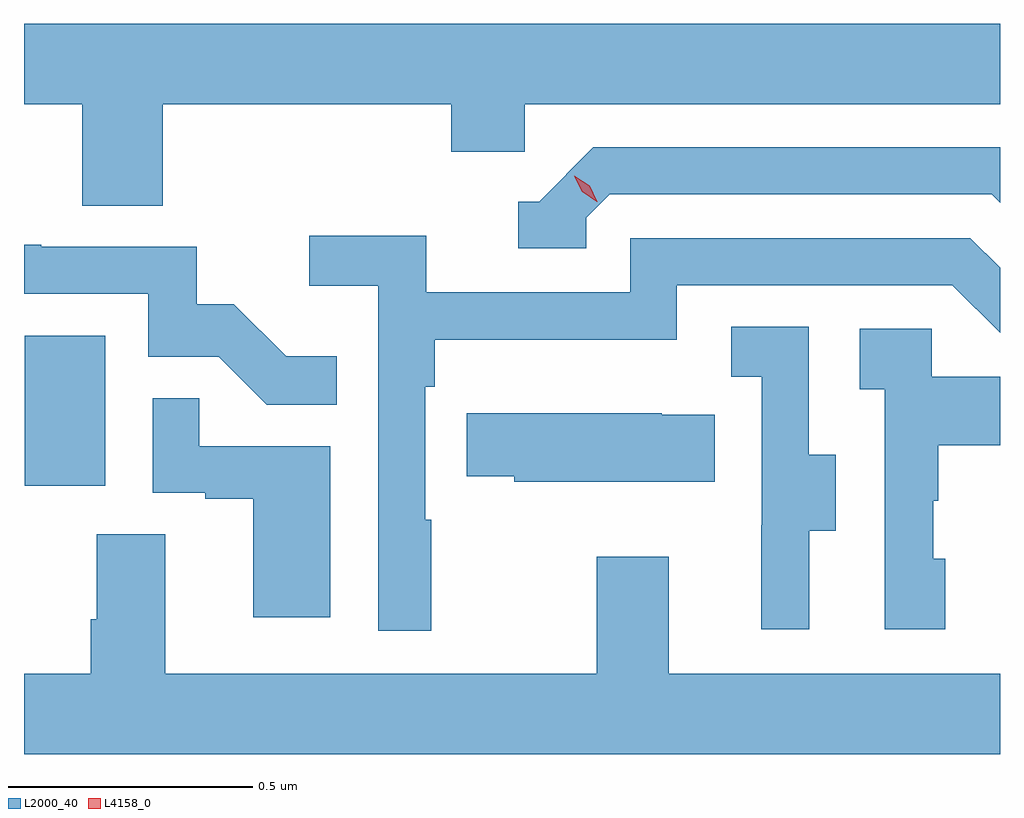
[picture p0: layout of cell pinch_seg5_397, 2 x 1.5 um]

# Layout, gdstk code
import gdstk
lib = gdstk.Library(unit=1e-6, precision=1e-09)
def R(c, l, rs):  # rectangles x0, y0, x1, y1
    for r in rs: c.add(gdstk.rectangle(r[:2], r[2:], *l))
def P(c, l, *ps):  # polygons
    for p in ps: c.add(gdstk.Polygon(p, *l))
L2000_40 = (2000, 40)
L4158_0 = (4158, 0)

pinch_seg5_397 = lib.new_cell('pinch_seg5_397')
R(pinch_seg5_397, L2000_40, [(957.638,873.294,957.802,873.601)])
P(pinch_seg5_397, L2000_40, [(957.92,874.076),(958.511,874.076),(958.511,873.978),(958.662,873.978),(958.662,874.076),(959.636,874.076),(959.636,874.24),(957.636,874.24),(957.636,874.076),(957.755,874.076),(957.755,873.868),(957.92,873.868)],
  [(958.788,873.843),(958.836,873.891),(959.619,873.891),(959.636,873.874),(959.636,873.987),(958.803,873.987),(958.692,873.876),(958.649,873.876),(958.649,873.78),(958.788,873.78)],
  [(958.471,873.224),(958.458,873.224),(958.458,873.497),(958.478,873.497),(958.478,873.593),(958.974,873.593),(958.974,873.705),(959.538,873.705),(959.636,873.607),(959.636,873.74),(959.575,873.801),(958.878,873.801),(958.878,873.69),(958.46,873.69),(958.46,873.806),(958.221,873.806),(958.221,873.704),(958.362,873.704),(958.362,872.997),(958.471,872.997)],
  [(958.277,873.559),(958.173,873.559),(958.066,873.666),(957.99,873.666),(957.99,873.783),(957.671,873.783),(957.671,873.788),(957.636,873.788),(957.636,873.687),(957.891,873.687),(957.891,873.558),(958.035,873.558),(958.133,873.46),(958.277,873.46)],
  [(959.245,873.202),(959.299,873.202),(959.299,873.357),(959.244,873.357),(959.244,873.62),(959.085,873.62),(959.085,873.517),(959.148,873.517),(959.148,873.213),(959.147,873.213),(959.147,873),(959.245,873)],
  [(959.524,873.144),(959.499,873.144),(959.499,873.263),(959.509,873.263),(959.509,873.377),(959.636,873.377),(959.636,873.517),(959.496,873.517),(959.496,873.615),(959.349,873.615),(959.349,873.491),(959.4,873.491),(959.4,873),(959.524,873)],
  [(958.264,873.375),(957.995,873.375),(957.995,873.473),(957.9,873.473),(957.9,873.279),(958.007,873.279),(958.007,873.267),(958.106,873.267),(958.106,873.024),(958.264,873.024)],
  [(959.051,873.439),(958.943,873.439),(958.943,873.442),(958.543,873.442),(958.543,873.313),(958.641,873.313),(958.641,873.302),(959.051,873.302)],
  [(959.636,872.908),(958.957,872.908),(958.957,873.148),(958.81,873.148),(958.81,872.908),(957.925,872.908),(957.925,873.194),(957.785,873.194),(957.785,873.02),(957.773,873.02),(957.773,872.908),(957.636,872.908),(957.636,872.744),(959.636,872.744)])
P(pinch_seg5_397, L4158_0, [(958.81,873.876),(958.78,873.896),(958.764,873.928),(958.764,873.929),(958.764,873.929),(958.795,873.909),(958.811,873.876),(958.811,873.876)])

lib.write_gds('pinch_seg5_397.gds')
